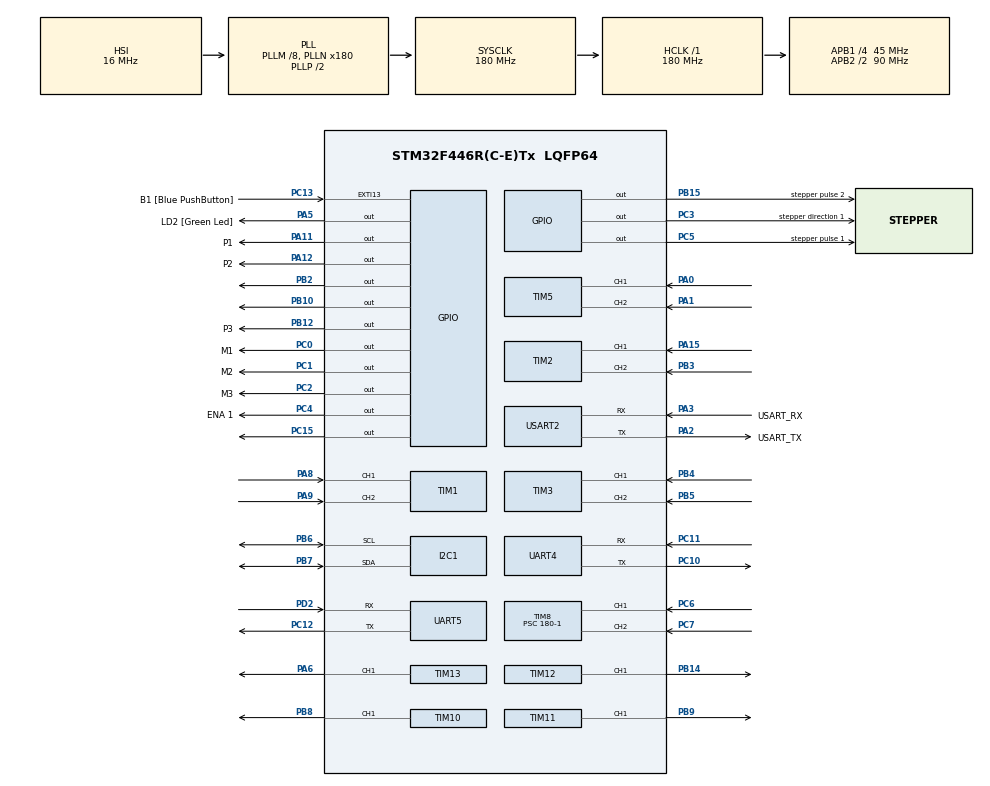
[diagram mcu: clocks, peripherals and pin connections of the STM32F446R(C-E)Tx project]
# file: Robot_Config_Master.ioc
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Dma.Request0=UART4_RX
Dma.Request1=UART5_TX
Dma.UART4_RX.0.Direction=DMA_PERIPH_TO_MEMORY
Dma.UART4_RX.0.FIFOMode=DMA_FIFOMODE_DISABLE
Dma.UART4_RX.0.Instance=DMA1_Stream2
Dma.UART4_RX.0.MemDataAlignment=DMA_MDATAALIGN_BYTE
Dma.UART4_RX.0.MemInc=DMA_MINC_ENABLE
Dma.UART4_RX.0.Mode=DMA_CIRCULAR
Dma.UART4_RX.0.PeriphDataAlignment=DMA_PDATAALIGN_BYTE
Dma.UART4_RX.0.PeriphInc=DMA_PINC_DISABLE
Dma.UART4_RX.0.Priority=DMA_PRIORITY_LOW
Dma.UART5_TX.1.Direction=DMA_MEMORY_TO_PERIPH
Dma.UART5_TX.1.FIFOMode=DMA_FIFOMODE_DISABLE
Dma.UART5_TX.1.Instance=DMA1_Stream7
Dma.UART5_TX.1.MemDataAlignment=DMA_MDATAALIGN_BYTE
Dma.UART5_TX.1.MemInc=DMA_MINC_ENABLE
Dma.UART5_TX.1.Mode=DMA_CIRCULAR
Dma.UART5_TX.1.PeriphDataAlignment=DMA_PDATAALIGN_BYTE
Dma.UART5_TX.1.PeriphInc=DMA_PINC_DISABLE
Dma.UART5_TX.1.Priority=DMA_PRIORITY_LOW
I2C1.I2C_Mode=I2C_Fast
Mcu.Family=STM32F4
Mcu.Name=STM32F446R(C-E)Tx
Mcu.Package=LQFP64
NVIC.DMA1_Stream2_IRQn=true\:0\:0\:false\:false\:true\:false\:true\:true
NVIC.DMA1_Stream7_IRQn=true\:0\:0\:false\:false\:true\:false\:true\:true
NVIC.PriorityGroup=NVIC_PRIORITYGROUP_0
NVIC.UART4_IRQn=true\:0\:0\:false\:false\:true\:true\:true\:true
NVIC.UART5_IRQn=true\:0\:0\:false\:false\:true\:true\:true\:true
PA0-WKUP.GPIO_PuPd=GPIO_PULLUP
PA0-WKUP.Signal=S_TIM5_CH1
PA1.GPIO_PuPd=GPIO_PULLUP
PA1.Signal=S_TIM5_CH2
PA11.GPIO_Label=P1
PA11.Signal=GPIO_Output
PA12.GPIO_Label=P2
PA12.Signal=GPIO_Output
PA13.GPIO_Label=TMS
PA13.Mode=Serial_Wire
PA13.Signal=SYS_JTMS-SWDIO
PA14.GPIO_Label=TCK
PA14.Mode=Serial_Wire
PA14.Signal=SYS_JTCK-SWCLK
PA15.GPIO_PuPd=GPIO_PULLUP
PA15.Signal=S_TIM2_CH1_ETR
PA2.GPIO_Label=USART_TX
PA2.Mode=Asynchronous
PA2.Signal=USART2_TX
PA3.GPIO_Label=USART_RX
PA3.Mode=Asynchronous
PA3.Signal=USART2_RX
PA5.GPIO_Label=LD2 [Green Led]
PA5.Signal=GPIO_Output
PA6.Signal=S_TIM13_CH1
PA8.GPIO_PuPd=GPIO_PULLUP
PA8.Signal=S_TIM1_CH1
PA9.GPIO_PuPd=GPIO_PULLUP
PA9.Signal=S_TIM1_CH2
PB10.Signal=GPIO_Output
PB12.GPIO_Label=P3
PB12.Signal=GPIO_Output
PB14.Signal=S_TIM12_CH1
PB15.GPIO_Label=stepper pulse 2
PB15.Signal=GPIO_Output
PB2.Signal=GPIO_Output
PB3.GPIO_PuPd=GPIO_PULLUP
PB3.Signal=S_TIM2_CH2
PB4.GPIO_PuPd=GPIO_PULLUP
PB4.Signal=S_TIM3_CH1
PB5.GPIO_PuPd=GPIO_PULLUP
PB5.Signal=S_TIM3_CH2
PB6.Mode=I2C
PB6.Signal=I2C1_SCL
PB7.Mode=I2C
PB7.Signal=I2C1_SDA
PB8.Signal=S_TIM10_CH1
PB9.Signal=S_TIM11_CH1
PC0.GPIO_Label=M1
PC0.Signal=GPIO_Output
PC1.GPIO_Label=M2
PC1.Signal=GPIO_Output
PC10.Mode=Asynchronous
PC10.Signal=UART4_TX
PC11.Mode=Asynchronous
PC11.Signal=UART4_RX
PC12.Mode=Asynchronous
PC12.Signal=UART5_TX
PC13.GPIO_Label=B1 [Blue PushButton]
PC13.GPIO_ModeDefaultEXTI=GPIO_MODE_IT_FALLING
PC13.Signal=GPXTI13
PC14-OSC32_IN.Signal=RCC_OSC32_IN
PC15-OSC32_OUT.Signal=GPIO_Output
PC2.GPIO_Label=M3
PC2.Signal=GPIO_Output
PC3.GPIO_Label=stepper direction 1
PC3.Signal=GPIO_Output
PC4.GPIO_Label=ENA 1
PC4.Signal=GPIO_Output
PC5.GPIO_Label=stepper pulse 1
PC5.Signal=GPIO_Output
PC6.GPIO_PuPd=GPIO_PULLUP
PC6.Signal=S_TIM8_CH1
PC7.GPIO_PuPd=GPIO_PULLUP
PC7.Signal=S_TIM8_CH2
PD2.Mode=Asynchronous
PD2.Signal=UART5_RX
PH0-OSC_IN.Mode=HSE-External-Oscillator
PH0-OSC_IN.Signal=RCC_OSC_IN
PH1-OSC_OUT.Mode=HSE-External-Oscillator
PH1-OSC_OUT.Signal=RCC_OSC_OUT
ProjectManager.HeapSize=0x200
ProjectManager.StackSize=0x400
ProjectManager.TargetToolchain=STM32CubeIDE
RCC.48MHZClocksFreq_Value=84000000
RCC.AHBFreq_Value=180000000
RCC.APB1CLKDivider=RCC_HCLK_DIV4
RCC.APB1Freq_Value=45000000
RCC.APB1TimFreq_Value=90000000
RCC.APB2CLKDivider=RCC_HCLK_DIV2
RCC.APB2Freq_Value=90000000
RCC.APB2TimFreq_Value=180000000
RCC.CortexFreq_Value=180000000
RCC.FLatency-AdvancedSettings=FLASH_LATENCY_5
RCC.HCLKFreq_Value=180000000
RCC.HSE_VALUE=8000000
RCC.HSI_VALUE=16000000
RCC.PLLM=8
RCC.PLLN=180
RCC.SYSCLKFreq_VALUE=180000000
RCC.SYSCLKSource=RCC_SYSCLKSOURCE_PLLCLK
RCC.USBFreq_Value=180000000
RCC.VCOOutputFreq_Value=360000000
SH.S_TIM10_CH1.0=TIM10_CH1,PWM Generation1 CH1
SH.S_TIM11_CH1.0=TIM11_CH1,PWM Generation1 CH1
SH.S_TIM12_CH1.0=TIM12_CH1,PWM Generation1 CH1
SH.S_TIM13_CH1.0=TIM13_CH1,PWM Generation1 CH1
SH.S_TIM1_CH1.0=TIM1_CH1,Encoder_Interface
SH.S_TIM1_CH2.0=TIM1_CH2,Encoder_Interface
SH.S_TIM2_CH1_ETR.0=TIM2_CH1,Encoder_Interface
SH.S_TIM2_CH2.0=TIM2_CH2,Encoder_Interface
SH.S_TIM3_CH1.0=TIM3_CH1,Encoder_Interface
SH.S_TIM3_CH2.0=TIM3_CH2,Encoder_Interface
SH.S_TIM5_CH1.0=TIM5_CH1,Encoder_Interface
SH.S_TIM5_CH2.0=TIM5_CH2,Encoder_Interface
SH.S_TIM8_CH1.0=TIM8_CH1,Encoder_Interface
SH.S_TIM8_CH2.0=TIM8_CH2,Encoder_Interface
TIM10.Channel=TIM_CHANNEL_1
TIM10.Period=999
TIM10.Prescaler=179
TIM11.Channel=TIM_CHANNEL_1
TIM11.Period=999
TIM11.Prescaler=179
TIM12.Channel-PWM\ Generation1\ CH1=TIM_CHANNEL_1
TIM12.Period=999
TIM12.Prescaler=179
TIM13.Channel=TIM_CHANNEL_1
TIM13.Period=999
TIM13.Prescaler=179
TIM8.Period=1000-1
TIM8.Prescaler=180-1
UART4.VirtualMode=Asynchronous
UART5.VirtualMode=Asynchronous
USART2.VirtualMode=VM_ASYNC
VP_TIM10_VS_ClockSourceINT.Mode=Enable_Timer
VP_TIM11_VS_ClockSourceINT.Mode=Enable_Timer
VP_TIM12_VS_ClockSourceINT.Mode=Internal
VP_TIM13_VS_ClockSourceINT.Mode=Enable_Timer
board=NUCLEO-F446RE

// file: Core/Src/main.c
/* USER CODE BEGIN Header */
/**
 ******************************************************************************
 * @file           : main.c
 * @brief          : Main program body
 ******************************************************************************
 * @attention
 *
 * Copyright (c) 2025 STMicroelectronics.
 * All rights reserved.
 *
 * This software is licensed under terms that can be found in the LICENSE file
 * in the root directory of this software component.
 * If no LICENSE file comes with this software, it is provided AS-IS.
 *
 ******************************************************************************
 */
/* USER CODE END Header */
#include "main.h"

/* USER CODE BEGIN Includes */
#include "bno055_stm32.h"
#include "BNO055.h"

#include "stdio.h"
#include<stdio.h>
#include<inttypes.h>
#include<Math.h>
#include <stdbool.h>
#include <stdlib.h>
#define WHEEL_RADIUS        63.5f    // meters
#define ENCODER_COUNTS_PER_REV  349.9844447f // Encoder counts per wheel revolution
#define L                   0.314f     // Distance from robot center to wheels (meters)

#define pi 3.1415926535
/* USER CODE END Includes */

I2C_HandleTypeDef hi2c1;

TIM_HandleTypeDef htim1;
TIM_HandleTypeDef htim2;
TIM_HandleTypeDef htim3;
TIM_HandleTypeDef htim5;
TIM_HandleTypeDef htim8;
TIM_HandleTypeDef htim10;
TIM_HandleTypeDef htim11;
TIM_HandleTypeDef htim12;
TIM_HandleTypeDef htim13;

UART_HandleTypeDef huart4;
UART_HandleTypeDef huart5;
UART_HandleTypeDef huart2;
DMA_HandleTypeDef hdma_uart4_rx;
DMA_HandleTypeDef hdma_uart5_tx;

/* USER CODE BEGIN PV */
// comm buffer
char data[12];

// stepper
static uint32_t last_step_time1 = 0;
static int step_state1 = 0;
static int direction1 = 1;
int step_delay = 5;
int step_delay1 = 1;
static int stepper_running1 = 0;  // Toggle flag
static int ebike_running = 0;  // Toggle flag
static int prev_cir = 0;
static int prev_tri = 0;
static int prev_cro = 0;
static int prev_ll1 = 0;
static int prev_rr1 = 0;

// Encoder counters
int16_t signed_counter1 = 0;
int32_t signed_counter2 = 0;
int16_t signed_counter3 = 0;

//BNO055_Data_t imu_data, imuData;

float yaw = 0, q0 = 0, q1 = 0, q2 = 0, q3 = 0;

// Global variables
float x_global = 0.0f;      // Global X position (meters)
float y_global = 0.0f;      // Global Y position (meters)
float theta_prev = 0.0f;    // Previous IMU yaw (radians)
int32_t encoder_prev[3] = { 0 }; // Previous encoder counts for wheels 1, 2, 3
/* USER CODE END PV */

void SystemClock_Config(void);
static void MX_GPIO_Init(void);
static void MX_DMA_Init(void);
static void MX_USART2_UART_Init(void);
static void MX_UART4_Init(void);
static void MX_TIM1_Init(void);
static void MX_TIM8_Init(void);
static void MX_I2C1_Init(void);
static void MX_TIM5_Init(void);
static void MX_TIM10_Init(void);
static void MX_TIM11_Init(void);
static void MX_TIM13_Init(void);
static void MX_TIM2_Init(void);
static void MX_TIM3_Init(void);
static void MX_TIM12_Init(void);
static void MX_UART5_Init(void);

/* USER CODE BEGIN 0 */
//float sinval = sin(radians(60));
uint8_t rxbuff[16];
int slow = 125;
int fast = 850;
int Buff1 = 50;
int Buff2 = -50;
int BuffP = 50;
int BuffN = -50;
int target_wf, target_wrr, target_wrl, w;
int32_t lx, ly, rx, ry, cro, squ, tri, cir, up, down, left, right, ll1, rr1,
		ll2, rr2, rL, rR;
int deadzone = 50;
int l0 = 310;
//float cos30 = (sqrt(3)/2);
float cos30 = 0.5;

float dist1 = 0.0f;
float dist2 = 0.0f;
float dist3 = 0.0f;
float dist4 = 0.0f;

float last_encoder1 = 0.0f;
float last_encoder2 = 0.0f;
float last_encoder3 = 0.0f;

typedef enum {
	STOP, FORWARD, BACKWARD, RIGHT, LEFT, CLOCKWISE, ANTICLOCKWISE
} MovementState;

// Global position and orientation
volatile float x = 0.0f; // mm
volatile float y = 0.0f; // mm
volatile float theta = 0.0f; // radians

// Encoder state
volatile int32_t prev_encoder5 = 0;
volatile int32_t prev_encoder10 = 0;
volatile int32_t prev_encoder11 = 0;

void HAL_UART_RxCpltCallback(UART_HandleTypeDef *huart) {
	HAL_UART_Receive_DMA(&huart4, rxbuff, 16);
}
long map(long x, long in_min, long in_max, long out_min, long out_max) {

	return (x - in_min) * (out_max - out_min) / (in_max - in_min) + out_min;

}

void update_odometry(int16_t encoder1, int32_t encoder2, int16_t encoder3) {
	// Calculate the change in encoder values
	int16_t delta1 = encoder1 - last_encoder1;
	int32_t delta2 = encoder2 - last_encoder2;
	int16_t delta3 = encoder3 - last_encoder3;

	// Calculate distance per encoder count
	float wheel_circumference = 2 * M_PI * WHEEL_RADIUS;
	float distance_per_count = (1.0 / ENCODER_COUNTS_PER_REV)
			* (wheel_circumference / 1000);

	// Compute average delta for forward/backward encoders (without abs)
	float avgDelta12 = (delta1 + delta2) / 2.0;

	// Check movement direction based on joystick
	if (ly >= Buff1 && (lx <= BuffP && lx >= BuffN)) {
		// Forward motion - use the actual delta (with sign) to track position
		x += distance_per_count * avgDelta12;
	} else if (ly <= Buff2 && (lx <= BuffP && lx >= BuffN)) {
		// Backward motion - use the actual delta (with sign) to track position
		x += distance_per_count * avgDelta12; // Will be negative when going backward
	}

	if (lx >= Buff1 && (ly <= BuffP && ly >= BuffN)) {
		dist3 = distance_per_count * abs(delta3);  // Using delta3 for y-axis
		y += dist3;
	} else if (lx <= Buff2 && (ly <= BuffP && ly >= BuffN)) {
		dist4 = distance_per_count * abs(delta3);
		y -= dist4;
	}

	// Update last encoder values for the next iteration
	last_encoder1 = encoder1;
	last_encoder2 = encoder2;
	last_encoder3 = encoder3;
}

void resetEncoders() {
	__HAL_TIM_SET_COUNTER(&htim1, 0);
	__HAL_TIM_SET_COUNTER(&htim2, 0);
	__HAL_TIM_SET_COUNTER(&htim3, 0);
}

void stopEncoders() {
	HAL_TIM_Encoder_Stop(&htim1, TIM_CHANNEL_ALL);
	HAL_TIM_Encoder_Stop(&htim2, TIM_CHANNEL_ALL);
	HAL_TIM_Encoder_Stop(&htim3, TIM_CHANNEL_ALL);
}

void startEncoders() {
	HAL_TIM_Encoder_Start(&htim1, TIM_CHANNEL_ALL);
	HAL_TIM_Encoder_Start(&htim2, TIM_CHANNEL_ALL);
	HAL_TIM_Encoder_Start(&htim3, TIM_CHANNEL_ALL);
}
/* USER CODE END 0 */

int main(void) {

	/* MCU Configuration--------------------------------------------------------*/

	/* Reset of all peripherals, Initializes the Flash interface and the Systick. */
	HAL_Init();

	/* Configure the system clock */
	SystemClock_Config();

	/* Initialize all configured peripherals */
	MX_GPIO_Init();
	MX_DMA_Init();
	MX_USART2_UART_Init();
	MX_UART4_Init();
	MX_TIM1_Init();
	MX_TIM8_Init();
	MX_I2C1_Init();
	MX_TIM5_Init();
	MX_TIM10_Init();
	MX_TIM11_Init();
	MX_TIM13_Init();
	MX_TIM2_Init();
	MX_TIM3_Init();
	MX_TIM12_Init();
	MX_UART5_Init();
	/* USER CODE BEGIN 2 */
	HAL_UART_Receive_DMA(&huart4, rxbuff, 16);
	HAL_TIM_Encoder_Start(&htim1, TIM_CHANNEL_ALL);
	HAL_TIM_Encoder_Start(&htim2, TIM_CHANNEL_ALL);
	HAL_TIM_Encoder_Start(&htim3, TIM_CHANNEL_ALL);
	bno055_assignI2C(&hi2c1);
	bno055_setup();
	bno055_setOperationModeNDOF();
	/* USER CODE END 2 */

	/* Infinite loop */
	while (1) {

		/* USER CODE BEGIN 3 */
		/* ps5 controller */
		lx = (rxbuff[0] & 0x80) ?
				(int32_t) rxbuff[0] - 256 : (int32_t) rxbuff[0];
		ly = (rxbuff[1] & 0x80) ?
				(int32_t) rxbuff[1] - 256 : (int32_t) rxbuff[1];
		rx = (rxbuff[2] & 0x80) ?
				(int32_t) rxbuff[2] - 256 : (int32_t) rxbuff[2];
		ry = (rxbuff[3] & 0x80) ?
				(int32_t) rxbuff[3] - 256 : (int32_t) rxbuff[3];
		cro = (rxbuff[4] & 0x80) ?
				(int32_t) rxbuff[4] - 256 : (int32_t) rxbuff[4];
		squ = (rxbuff[5] & 0x80) ?
				(int32_t) rxbuff[5] - 256 : (int32_t) rxbuff[5];
		tri = (rxbuff[6] & 0x80) ?
				(int32_t) rxbuff[6] - 256 : (int32_t) rxbuff[6];
		cir = (rxbuff[7] & 0x80) ?
				(int32_t) rxbuff[7] - 256 : (int32_t) rxbuff[7];
		up = (rxbuff[8] & 0x80) ?
				(int32_t) rxbuff[8] - 256 : (int32_t) rxbuff[8];
		down = (rxbuff[9] & 0x80) ?
				(int32_t) rxbuff[9] - 256 : (int32_t) rxbuff[9];
		left = (rxbuff[10] & 0x80) ?
				(int32_t) rxbuff[10] - 256 : (int32_t) rxbuff[10];
		right = (rxbuff[11] & 0x80) ?
				(int32_t) rxbuff[11] - 256 : (int32_t) rxbuff[11];
		ll1 = (rxbuff[12] & 0x80) ?
				(int32_t) rxbuff[12] - 256 : (int32_t) rxbuff[12];
		ll2 = (rxbuff[13] & 0x80) ?
				(int32_t) rxbuff[13] - 256 : (int32_t) rxbuff[13];
		rr1 = (rxbuff[14] & 0x80) ?
				(int32_t) rxbuff[14] - 256 : (int32_t) rxbuff[14];
		rr2 = (rxbuff[15] & 0x80) ?
				(int32_t) rxbuff[15] - 256 : (int32_t) rxbuff[15];

		//		printf("Received Integers: %ld %ld %ld %ld %ld %ld %ld %ld %ld %ld\r\n",
		//				lx, ly, rx, ry, cro, squ, tri, cir, ll1, rr1);
		//		printf("Received Integers: %ld %ld %ld %ld %ld %ld %ld %ld\r\n", lx, ly,
		//				rx, ry, cro, squ, tri, cir);

		data[0] = rxbuff[4];
		data[1] = rxbuff[5];
		data[2] = rxbuff[6];
		data[3] = rxbuff[7];
		data[4] = rxbuff[8];
		data[5] = rxbuff[9];
		data[6] = rxbuff[10];
		data[7] = rxbuff[11];
		data[8] = rxbuff[12];
		data[9] = rxbuff[13];
		data[10] = rxbuff[14];
		data[11] = rxbuff[15];

		HAL_UART_Transmit(&huart5, (uint8_t*)data, 12, 1000);

		/* 3 encoders */
		uint16_t raw_counter1 = __HAL_TIM_GET_COUNTER(&htim1);
		uint32_t raw_counter2 = __HAL_TIM_GET_COUNTER(&htim2);
		uint16_t raw_counter3 = __HAL_TIM_GET_COUNTER(&htim3);

		// Convert to signed values
		signed_counter1 =
				(raw_counter1 < 32768) ?
						(int16_t) raw_counter1 :
						(int16_t) (raw_counter1 - 65536);
		signed_counter2 =
				(raw_counter2 < 2147483648) ?
						(int32_t) raw_counter2 :
						(int32_t) (raw_counter2 - 4294967296);
		signed_counter3 =
				(raw_counter3 < 32768) ?
						(int16_t) raw_counter3 :
						(int16_t) (raw_counter3 - 65536);

		/* IMU */
		bno055_vector_t v = bno055_getVectorEuler();
		//		printf("Heading: %.2f Roll: %.2f Pitch: %.2f\r\n", v.x, v.y, v.z);
		v = bno055_getVectorQuaternion();
		//		printf("W: %.2f X: %.2f Y: %.2f Z: %.2f\r\n", v.w, v.x, v.y, v.z);
		yaw = -(atan2(2.0 * (v.w * v.z + v.x * v.y),
				1.0 - 2.0 * (v.y * v.y + v.z * v.z))) * (180.0 / pi);
		//				printf("Yaw: %.2f\r\n", yaw);
		printf("Encoder position: %d %d %d X: %.2f Y: %.2f\r\n",
				signed_counter1, signed_counter2, signed_counter3, x, y);

		/* 3 wheel */
		uint16_t dutycycle;

		dutycycle = 0;
		MovementState current_state = STOP;
		/* chassis */
		//motors stop
		if (ly >= Buff2 && ly <= Buff1 && lx >= Buff2 && lx <= Buff1
				&& rx >= Buff2 && rx <= Buff1) {

			dutycycle = 0;

			TIM12->CCR1 = dutycycle;
			TIM10->CCR1 = dutycycle;
			TIM11->CCR1 = dutycycle;
			HAL_TIM_PWM_Start(&htim12, TIM_CHANNEL_1);
			HAL_TIM_PWM_Start(&htim10, TIM_CHANNEL_1);
			HAL_TIM_PWM_Start(&htim11, TIM_CHANNEL_1);

		}

		//	  	//forward

		else if (ly >= Buff1 && (lx <= BuffP && lx >= BuffN))

		{

			dutycycle = map(ly, Buff1, 127, 0, fast);

			TIM10->CCR1 = dutycycle;
			TIM11->CCR1 = dutycycle;
			HAL_TIM_PWM_Start(&htim10, TIM_CHANNEL_1);
			HAL_TIM_PWM_Start(&htim11, TIM_CHANNEL_1);

			//			HAL_GPIO_WritePin(GPIOC, GPIO_PIN_0, GPIO_PIN_RESET);

			HAL_GPIO_WritePin(GPIOC, GPIO_PIN_1, GPIO_PIN_SET);

			HAL_GPIO_WritePin(GPIOC, GPIO_PIN_2, GPIO_PIN_RESET);
			current_state = FORWARD;
			//			HAL_GPIO_WritePin(GPIOC, GPIO_PIN_3, GPIO_PIN_RESET);

			//	   	HAL_Delay(1000);

		}

		// backward

		else if (ly <= Buff2 && (lx <= BuffP && lx >= BuffN))

		{

			dutycycle = map(ly, -128, Buff2, fast, 0);

			TIM10->CCR1 = dutycycle;
			TIM11->CCR1 = dutycycle;
			HAL_TIM_PWM_Start(&htim10, TIM_CHANNEL_1);
			HAL_TIM_PWM_Start(&htim11, TIM_CHANNEL_1);

			//			HAL_GPIO_WritePin(GPIOC, GPIO_PIN_0, GPIO_PIN_RESET);

			HAL_GPIO_WritePin(GPIOC, GPIO_PIN_1, GPIO_PIN_RESET);

			HAL_GPIO_WritePin(GPIOC, GPIO_PIN_2, GPIO_PIN_SET);

			//			HAL_GPIO_WritePin(GPIOC, GPIO_PIN_3, GPIO_PIN_SET);
			current_state = BACKWARD;
			//	    HAL_Delay(1000);

		}

		//	right

		else if (lx >= Buff1 && (ly <= BuffP && ly >= BuffN))

		{

			dutycycle = map(lx, Buff1, 127, 0, fast);

			TIM12->CCR1 = dutycycle;
			TIM10->CCR1 = cos30 * dutycycle;
			TIM11->CCR1 = cos30 * dutycycle;
			HAL_TIM_PWM_Start(&htim12, TIM_CHANNEL_1);
			HAL_TIM_PWM_Start(&htim10, TIM_CHANNEL_1);
			HAL_TIM_PWM_Start(&htim11, TIM_CHANNEL_1);

			HAL_GPIO_WritePin(GPIOC, GPIO_PIN_0, GPIO_PIN_RESET);

			HAL_GPIO_WritePin(GPIOC, GPIO_PIN_1, GPIO_PIN_RESET);

			HAL_GPIO_WritePin(GPIOC, GPIO_PIN_2, GPIO_PIN_RESET);

			//			HAL_GPIO_WritePin(GPIOC, GPIO_PIN_3, GPIO_PIN_SET);
			current_state = RIGHT;
			//	    HAL_Delay(1000);

		}

		// left

		else if (lx <= Buff2 && (ly <= BuffP && ly >= BuffN))

		{

			dutycycle = map(lx, -128, Buff2, fast, 0);

			TIM12->CCR1 = dutycycle;
			TIM10->CCR1 = cos30 * dutycycle;
			TIM11->CCR1 = cos30 * dutycycle;
			HAL_TIM_PWM_Start(&htim12, TIM_CHANNEL_1);
			HAL_TIM_PWM_Start(&htim10, TIM_CHANNEL_1);
			HAL_TIM_PWM_Start(&htim11, TIM_CHANNEL_1);

			HAL_GPIO_WritePin(GPIOC, GPIO_PIN_0, GPIO_PIN_SET);

			HAL_GPIO_WritePin(GPIOC, GPIO_PIN_1, GPIO_PIN_SET);

			HAL_GPIO_WritePin(GPIOC, GPIO_PIN_2, GPIO_PIN_SET);
			current_state = LEFT;
			//			HAL_GPIO_WritePin(GPIOC, GPIO_PIN_3, GPIO_PIN_RESET);

		}

		//clockwise

		else if (rx >= Buff1 && (ry <= BuffP && ry >= BuffN)) {

			dutycycle = map(rx, Buff1, 127, 0, 100);

			TIM12->CCR1 = dutycycle;
			TIM10->CCR1 = dutycycle;
			TIM11->CCR1 = dutycycle;
			HAL_TIM_PWM_Start(&htim12, TIM_CHANNEL_1);
			HAL_TIM_PWM_Start(&htim10, TIM_CHANNEL_1);
			HAL_TIM_PWM_Start(&htim11, TIM_CHANNEL_1);

			HAL_GPIO_WritePin(GPIOC, GPIO_PIN_0, GPIO_PIN_SET);

			HAL_GPIO_WritePin(GPIOC, GPIO_PIN_1, GPIO_PIN_RESET);

			HAL_GPIO_WritePin(GPIOC, GPIO_PIN_2, GPIO_PIN_RESET);
			current_state = CLOCKWISE;
			//			HAL_GPIO_WritePin(GPIOC, GPIO_PIN_3, GPIO_PIN_SET);

		}

		// anticlockwise

		else if (rx <= Buff2 && (ry <= BuffP && ry >= BuffN)) {

			dutycycle = map(rx, -128, Buff2, 100, 0);

			TIM12->CCR1 = dutycycle;
			TIM10->CCR1 = dutycycle;
			TIM11->CCR1 = dutycycle;
			HAL_TIM_PWM_Start(&htim12, TIM_CHANNEL_1);
			HAL_TIM_PWM_Start(&htim10, TIM_CHANNEL_1);
			HAL_TIM_PWM_Start(&htim11, TIM_CHANNEL_1);

			HAL_GPIO_WritePin(GPIOC, GPIO_PIN_0, GPIO_PIN_RESET);

			HAL_GPIO_WritePin(GPIOC, GPIO_PIN_1, GPIO_PIN_SET);

			HAL_GPIO_WritePin(GPIOC, GPIO_PIN_2, GPIO_PIN_SET);
			current_state = ANTICLOCKWISE;

			//			HAL_GPIO_WritePin(GPIOC, GPIO_PIN_3, GPIO_PIN_RESET);

		}

		if (current_state == CLOCKWISE || current_state == ANTICLOCKWISE) {
			stopEncoders();
		} else {
			startEncoders();
		}

		update_odometry(signed_counter1, signed_counter2, signed_counter3);
	}
	/* USER CODE END 3 */
}

void SystemClock_Config(void) {
	RCC_OscInitTypeDef RCC_OscInitStruct = { 0 };
	RCC_ClkInitTypeDef RCC_ClkInitStruct = { 0 };

	/** Configure the main internal regulator output voltage
	 */
	__HAL_RCC_PWR_CLK_ENABLE();
	__HAL_PWR_VOLTAGESCALING_CONFIG(PWR_REGULATOR_VOLTAGE_SCALE1);

	/** Initializes the RCC Oscillators according to the specified parameters
	 * in the RCC_OscInitTypeDef structure.
	 */
	RCC_OscInitStruct.OscillatorType = RCC_OSCILLATORTYPE_HSI;
	RCC_OscInitStruct.HSIState = RCC_HSI_ON;
	RCC_OscInitStruct.HSICalibrationValue = RCC_HSICALIBRATION_DEFAULT;
	RCC_OscInitStruct.PLL.PLLState = RCC_PLL_ON;
	RCC_OscInitStruct.PLL.PLLSource = RCC_PLLSOURCE_HSI;
	RCC_OscInitStruct.PLL.PLLM = 8;
	RCC_OscInitStruct.PLL.PLLN = 180;
	RCC_OscInitStruct.PLL.PLLP = RCC_PLLP_DIV2;
	RCC_OscInitStruct.PLL.PLLQ = 2;
	RCC_OscInitStruct.PLL.PLLR = 2;
	if (HAL_RCC_OscConfig(&RCC_OscInitStruct) != HAL_OK) {
		Error_Handler();
	}

	/** Activate the Over-Drive mode
	 */
	if (HAL_PWREx_EnableOverDrive() != HAL_OK) {
		Error_Handler();
	}

	/** Initializes the CPU, AHB and APB buses clocks
	 */
	RCC_ClkInitStruct.ClockType = RCC_CLOCKTYPE_HCLK | RCC_CLOCKTYPE_SYSCLK
			| RCC_CLOCKTYPE_PCLK1 | RCC_CLOCKTYPE_PCLK2;
	RCC_ClkInitStruct.SYSCLKSource = RCC_SYSCLKSOURCE_PLLCLK;
	RCC_ClkInitStruct.AHBCLKDivider = RCC_SYSCLK_DIV1;
	RCC_ClkInitStruct.APB1CLKDivider = RCC_HCLK_DIV4;
	RCC_ClkInitStruct.APB2CLKDivider = RCC_HCLK_DIV2;

	if (HAL_RCC_ClockConfig(&RCC_ClkInitStruct, FLASH_LATENCY_5) != HAL_OK) {
		Error_Handler();
	}
}

static void MX_I2C1_Init(void) {

	hi2c1.Instance = I2C1;
	hi2c1.Init.ClockSpeed = 400000;
	hi2c1.Init.DutyCycle = I2C_DUTYCYCLE_2;
	hi2c1.Init.OwnAddress1 = 0;
	hi2c1.Init.AddressingMode = I2C_ADDRESSINGMODE_7BIT;
	hi2c1.Init.DualAddressMode = I2C_DUALADDRESS_DISABLE;
	hi2c1.Init.OwnAddress2 = 0;
	hi2c1.Init.GeneralCallMode = I2C_GENERALCALL_DISABLE;
	hi2c1.Init.NoStretchMode = I2C_NOSTRETCH_DISABLE;
	if (HAL_I2C_Init(&hi2c1) != HAL_OK) {
		Error_Handler();
	}

}

static void MX_TIM1_Init(void) {

	TIM_Encoder_InitTypeDef sConfig = { 0 };
	TIM_MasterConfigTypeDef sMasterConfig = { 0 };

	htim1.Instance = TIM1;
	htim1.Init.Prescaler = 0;
	htim1.Init.CounterMode = TIM_COUNTERMODE_UP;
	htim1.Init.Period = 65535;
	htim1.Init.ClockDivision = TIM_CLOCKDIVISION_DIV1;
	htim1.Init.RepetitionCounter = 0;
	htim1.Init.AutoReloadPreload = TIM_AUTORELOAD_PRELOAD_DISABLE;
	sConfig.EncoderMode = TIM_ENCODERMODE_TI1;
	sConfig.IC1Polarity = TIM_ICPOLARITY_RISING;
	sConfig.IC1Selection = TIM_ICSELECTION_DIRECTTI;
	sConfig.IC1Prescaler = TIM_ICPSC_DIV1;
	sConfig.IC1Filter = 0;
	sConfig.IC2Polarity = TIM_ICPOLARITY_RISING;
	sConfig.IC2Selection = TIM_ICSELECTION_DIRECTTI;
	sConfig.IC2Prescaler = TIM_ICPSC_DIV1;
	sConfig.IC2Filter = 0;
	if (HAL_TIM_Encoder_Init(&htim1, &sConfig) != HAL_OK) {
		Error_Handler();
	}
	sMasterConfig.MasterOutputTrigger = TIM_TRGO_RESET;
	sMasterConfig.MasterSlaveMode = TIM_MASTERSLAVEMODE_DISABLE;
	if (HAL_TIMEx_MasterConfigSynchronization(&htim1, &sMasterConfig)
			!= HAL_OK) {
		Error_Handler();
	}

}

static void MX_TIM2_Init(void) {

	TIM_Encoder_InitTypeDef sConfig = { 0 };
	TIM_MasterConfigTypeDef sMasterConfig = { 0 };

	htim2.Instance = TIM2;
	htim2.Init.Prescaler = 0;
	htim2.Init.CounterMode = TIM_COUNTERMODE_UP;
	htim2.Init.Period = 4294967295;
	htim2.Init.ClockDivision = TIM_CLOCKDIVISION_DIV1;
	htim2.Init.AutoReloadPreload = TIM_AUTORELOAD_PRELOAD_DISABLE;
	sConfig.EncoderMode = TIM_ENCODERMODE_TI1;
	sConfig.IC1Polarity = TIM_ICPOLARITY_RISING;
	sConfig.IC1Selection = TIM_ICSELECTION_DIRECTTI;
	sConfig.IC1Prescaler = TIM_ICPSC_DIV1;
	sConfig.IC1Filter = 0;
	sConfig.IC2Polarity = TIM_ICPOLARITY_RISING;
	sConfig.IC2Selection = TIM_ICSELECTION_DIRECTTI;
	sConfig.IC2Prescaler = TIM_ICPSC_DIV1;
	sConfig.IC2Filter = 0;
	if (HAL_TIM_Encoder_Init(&htim2, &sConfig) != HAL_OK) {
		Error_Handler();
	}
	sMasterConfig.MasterOutputTrigger = TIM_TRGO_RESET;
	sMasterConfig.MasterSlaveMode = TIM_MASTERSLAVEMODE_DISABLE;
	if (HAL_TIMEx_MasterConfigSynchronization(&htim2, &sMasterConfig)
			!= HAL_OK) {
		Error_Handler();
	}

}

static void MX_TIM3_Init(void) {

	TIM_Encoder_InitTypeDef sConfig = { 0 };
	TIM_MasterConfigTypeDef sMasterConfig = { 0 };

	htim3.Instance = TIM3;
	htim3.Init.Prescaler = 0;
	htim3.Init.CounterMode = TIM_COUNTERMODE_UP;
	htim3.Init.Period = 65535;
	htim3.Init.ClockDivision = TIM_CLOCKDIVISION_DIV1;
	htim3.Init.AutoReloadPreload = TIM_AUTORELOAD_PRELOAD_DISABLE;
	sConfig.EncoderMode = TIM_ENCODERMODE_TI1;
	sConfig.IC1Polarity = TIM_ICPOLARITY_RISING;
	sConfig.IC1Selection = TIM_ICSELECTION_DIRECTTI;
	sConfig.IC1Prescaler = TIM_ICPSC_DIV1;
	sConfig.IC1Filter = 0;
	sConfig.IC2Polarity = TIM_ICPOLARITY_RISING;
	sConfig.IC2Selection = TIM_ICSELECTION_DIRECTTI;
	sConfig.IC2Prescaler = TIM_ICPSC_DIV1;
	sConfig.IC2Filter = 0;
	if (HAL_TIM_Encoder_Init(&htim3, &sConfig) != HAL_OK) {
		Error_Handler();
	}
	sMasterConfig.MasterOutputTrigger = TIM_TRGO_RESET;
	sMasterConfig.MasterSlaveMode = TIM_MASTERSLAVEMODE_DISABLE;
	if (HAL_TIMEx_MasterConfigSynchronization(&htim3, &sMasterConfig)
			!= HAL_OK) {
		Error_Handler();
	}

}

static void MX_TIM5_Init(void) {

	TIM_Encoder_InitTypeDef sConfig = { 0 };
	TIM_MasterConfigTypeDef sMasterConfig = { 0 };

	htim5.Instance = TIM5;
	htim5.Init.Prescaler = 0;
	htim5.Init.CounterMode = TIM_COUNTERMODE_UP;
	htim5.Init.Period = 4294967295;
	htim5.Init.ClockDivision = TIM_CLOCKDIVISION_DIV1;
	htim5.Init.AutoReloadPreload = TIM_AUTORELOAD_PRELOAD_DISABLE;
	sConfig.EncoderMode = TIM_ENCODERMODE_TI1;
	sConfig.IC1Polarity = TIM_ICPOLARITY_RISING;
	sConfig.IC1Selection = TIM_ICSELECTION_DIRECTTI;
	sConfig.IC1Prescaler = TIM_ICPSC_DIV1;
	sConfig.IC1Filter = 0;
	sConfig.IC2Polarity = TIM_ICPOLARITY_RISING;
	sConfig.IC2Selection = TIM_ICSELECTION_DIRECTTI;
	sConfig.IC2Prescaler = TIM_ICPSC_DIV1;
	sConfig.IC2Filter = 0;
	if (HAL_TIM_Encoder_Init(&htim5, &sConfig) != HAL_OK) {
		Error_Handler();
	}
	sMasterConfig.MasterOutputTrigger = TIM_TRGO_RESET;
	sMasterConfig.MasterSlaveMode = TIM_MASTERSLAVEMODE_DISABLE;
	if (HAL_TIMEx_MasterConfigSynchronization(&htim5, &sMasterConfig)
			!= HAL_OK) {
		Error_Handler();
	}

}

static void MX_TIM8_Init(void) {

	TIM_Encoder_InitTypeDef sConfig = { 0 };
	TIM_MasterConfigTypeDef sMasterConfig = { 0 };

	htim8.Instance = TIM8;
	htim8.Init.Prescaler = 180 - 1;
	htim8.Init.CounterMode = TIM_COUNTERMODE_UP;
	htim8.Init.Period = 1000 - 1;
	htim8.Init.ClockDivision = TIM_CLOCKDIVISION_DIV1;
	htim8.Init.RepetitionCounter = 0;
	htim8.Init.AutoReloadPreload = TIM_AUTORELOAD_PRELOAD_DISABLE;
	sConfig.EncoderMode = TIM_ENCODERMODE_TI1;
	sConfig.IC1Polarity = TIM_ICPOLARITY_RISING;
	sConfig.IC1Selection = TIM_ICSELECTION_DIRECTTI;
	sConfig.IC1Prescaler = TIM_ICPSC_DIV1;
	sConfig.IC1Filter = 0;
	sConfig.IC2Polarity = TIM_ICPOLARITY_RISING;
	sConfig.IC2Selection = TIM_ICSELECTION_DIRECTTI;
	sConfig.IC2Prescaler = TIM_ICPSC_DIV1;
	sConfig.IC2Filter = 0;
	if (HAL_TIM_Encoder_Init(&htim8, &sConfig) != HAL_OK) {
		Error_Handler();
	}
	sMasterConfig.MasterOutputTrigger = TIM_TRGO_RESET;
	sMasterConfig.MasterSlaveMode = TIM_MASTERSLAVEMODE_DISABLE;
	if (HAL_TIMEx_MasterConfigSynchronization(&htim8, &sMasterConfig)
			!= HAL_OK) {
		Error_Handler();
	}

}

static void MX_TIM10_Init(void) {

	TIM_OC_InitTypeDef sConfigOC = { 0 };

	htim10.Instance = TIM10;
	htim10.Init.Prescaler = 179;
	htim10.Init.CounterMode = TIM_COUNTERMODE_UP;
	htim10.Init.Period = 999;
	htim10.Init.ClockDivision = TIM_CLOCKDIVISION_DIV1;
	htim10.Init.AutoReloadPreload = TIM_AUTORELOAD_PRELOAD_DISABLE;
	if (HAL_TIM_Base_Init(&htim10) != HAL_OK) {
		Error_Handler();
	}
	if (HAL_TIM_PWM_Init(&htim10) != HAL_OK) {
		Error_Handler();
	}
	sConfigOC.OCMode = TIM_OCMODE_PWM1;
	sConfigOC.Pulse = 0;
	sConfigOC.OCPolarity = TIM_OCPOLARITY_HIGH;
	sConfigOC.OCFastMode = TIM_OCFAST_DISABLE;
	if (HAL_TIM_PWM_ConfigChannel(&htim10, &sConfigOC, TIM_CHANNEL_1)
			!= HAL_OK) {
		Error_Handler();
	}
	HAL_TIM_MspPostInit(&htim10);

}

static void MX_TIM11_Init(void) {

	TIM_OC_InitTypeDef sConfigOC = { 0 };

	htim11.Instance = TIM11;
	htim11.Init.Prescaler = 179;
	htim11.Init.CounterMode = TIM_COUNTERMODE_UP;
	htim11.Init.Period = 999;
	htim11.Init.ClockDivision = TIM_CLOCKDIVISION_DIV1;
	htim11.Init.AutoReloadPreload = TIM_AUTORELOAD_PRELOAD_DISABLE;
	if (HAL_TIM_Base_Init(&htim11) != HAL_OK) {
		Error_Handler();
	}
	if (HAL_TIM_PWM_Init(&htim11) != HAL_OK) {
		Error_Handler();
	}
	sConfigOC.OCMode = TIM_OCMODE_PWM1;
	sConfigOC.Pulse = 0;
	sConfigOC.OCPolarity = TIM_OCPOLARITY_HIGH;
	sConfigOC.OCFastMode = TIM_OCFAST_DISABLE;
	if (HAL_TIM_PWM_ConfigChannel(&htim11, &sConfigOC, TIM_CHANNEL_1)
			!= HAL_OK) {
		Error_Handler();
	}
	HAL_TIM_MspPostInit(&htim11);

}

static void MX_TIM12_Init(void) {

	TIM_ClockConfigTypeDef sClockSourceConfig = { 0 };
	TIM_OC_InitTypeDef sConfigOC = { 0 };

	htim12.Instance = TIM12;
	htim12.Init.Prescaler = 179;
	htim12.Init.CounterMode = TIM_COUNTERMODE_UP;
	htim12.Init.Period = 999;
	htim12.Init.ClockDivision = TIM_CLOCKDIVISION_DIV1;
	htim12.Init.AutoReloadPreload = TIM_AUTORELOAD_PRELOAD_DISABLE;
	if (HAL_TIM_Base_Init(&htim12) != HAL_OK) {
		Error_Handler();
	}
	sClockSourceConfig.ClockSource = TIM_CLOCKSOURCE_INTERNAL;
	if (HAL_TIM_ConfigClockSource(&htim12, &sClockSourceConfig) != HAL_OK) {
		Error_Handler();
	}
	if (HAL_TIM_PWM_Init(&htim12) != HAL_OK) {
		Error_Handler();
	}
	sConfigOC.OCMode = TIM_OCMODE_PWM1;
	sConfigOC.Pulse = 0;
	sConfigOC.OCPolarity = TIM_OCPOLARITY_HIGH;
	sConfigOC.OCFastMode = TIM_OCFAST_DISABLE;
	if (HAL_TIM_PWM_ConfigChannel(&htim12, &sConfigOC, TIM_CHANNEL_1)
			!= HAL_OK) {
		Error_Handler();
	}
	HAL_TIM_MspPostInit(&htim12);

}

static void MX_TIM13_Init(void) {

	TIM_OC_InitTypeDef sConfigOC = { 0 };

	htim13.Instance = TIM13;
	htim13.Init.Prescaler = 179;
	htim13.Init.CounterMode = TIM_COUNTERMODE_UP;
	htim13.Init.Period = 999;
	htim13.Init.ClockDivision = TIM_CLOCKDIVISION_DIV1;
	htim13.Init.AutoReloadPreload = TIM_AUTORELOAD_PRELOAD_DISABLE;
	if (HAL_TIM_Base_Init(&htim13) != HAL_OK) {
		Error_Handler();
	}
	if (HAL_TIM_PWM_Init(&htim13) != HAL_OK) {
		Error_Handler();
	}
	sConfigOC.OCMode = TIM_OCMODE_PWM1;
	sConfigOC.Pulse = 0;
	sConfigOC.OCPolarity = TIM_OCPOLARITY_HIGH;
	sConfigOC.OCFastMode = TIM_OCFAST_DISABLE;
	if (HAL_TIM_PWM_ConfigChannel(&htim13, &sConfigOC, TIM_CHANNEL_1)
			!= HAL_OK) {
		Error_Handler();
	}
	HAL_TIM_MspPostInit(&htim13);

}

static void MX_UART4_Init(void) {

	huart4.Instance = UART4;
	huart4.Init.BaudRate = 115200;
	huart4.Init.WordLength = UART_WORDLENGTH_8B;
	huart4.Init.StopBits = UART_STOPBITS_1;
	huart4.Init.Parity = UART_PARITY_NONE;
	huart4.Init.Mode = UART_MODE_TX_RX;
	huart4.Init.HwFlowCtl = UART_HWCONTROL_NONE;
	huart4.Init.OverSampling = UART_OVERSAMPLING_16;
	if (HAL_UART_Init(&huart4) != HAL_OK) {
		Error_Handler();
	}

}

static void MX_UART5_Init(void) {

	huart5.Instance = UART5;
	huart5.Init.BaudRate = 115200;
	huart5.Init.WordLength = UART_WORDLENGTH_8B;
	huart5.Init.StopBits = UART_STOPBITS_1;
	huart5.Init.Parity = UART_PARITY_NONE;
	huart5.Init.Mode = UART_MODE_TX_RX;
	huart5.Init.HwFlowCtl = UART_HWCONTROL_NONE;
	huart5.Init.OverSampling = UART_OVERSAMPLING_16;
	if (HAL_UART_Init(&huart5) != HAL_OK) {
		Error_Handler();
	}

}

static void MX_USART2_UART_Init(void) {

	huart2.Instance = USART2;
	huart2.Init.BaudRate = 115200;
	huart2.Init.WordLength = UART_WORDLENGTH_8B;
	huart2.Init.StopBits = UART_STOPBITS_1;
	huart2.Init.Parity = UART_PARITY_NONE;
	huart2.Init.Mode = UART_MODE_TX_RX;
	huart2.Init.HwFlowCtl = UART_HWCONTROL_NONE;
	huart2.Init.OverSampling = UART_OVERSAMPLING_16;
	if (HAL_UART_Init(&huart2) != HAL_OK) {
		Error_Handler();
	}

}

static void MX_DMA_Init(void) {

	/* DMA controller clock enable */
	__HAL_RCC_DMA1_CLK_ENABLE();

	/* DMA interrupt init */
	/* DMA1_Stream2_IRQn interrupt configuration */
	HAL_NVIC_SetPriority(DMA1_Stream2_IRQn, 0, 0);
	HAL_NVIC_EnableIRQ(DMA1_Stream2_IRQn);
	/* DMA1_Stream7_IRQn interrupt configuration */
	HAL_NVIC_SetPriority(DMA1_Stream7_IRQn, 0, 0);
	HAL_NVIC_EnableIRQ(DMA1_Stream7_IRQn);

}

static void MX_GPIO_Init(void) {
	GPIO_InitTypeDef GPIO_InitStruct = { 0 };

	/* GPIO Ports Clock Enable */
	__HAL_RCC_GPIOC_CLK_ENABLE();
	__HAL_RCC_GPIOH_CLK_ENABLE();
	__HAL_RCC_GPIOA_CLK_ENABLE();
	__HAL_RCC_GPIOB_CLK_ENABLE();
	__HAL_RCC_GPIOD_CLK_ENABLE();

	/*Configure GPIO pin Output Level */
	HAL_GPIO_WritePin(GPIOC,
			GPIO_PIN_15 | M1_Pin | M2_Pin | M3_Pin | stepper_direction_1_Pin
					| ENA_1_Pin | stepper_pulse_1_Pin, GPIO_PIN_RESET);

	/*Configure GPIO pin Output Level */
	HAL_GPIO_WritePin(GPIOA, LD2_Pin | P1_Pin | P2_Pin, GPIO_PIN_RESET);

	/*Configure GPIO pin Output Level */
	HAL_GPIO_WritePin(GPIOB,
			GPIO_PIN_2 | GPIO_PIN_10 | P3_Pin | stepper_pulse_2_Pin,
			GPIO_PIN_RESET);

	/*Configure GPIO pin : B1_Pin */
	GPIO_InitStruct.Pin = B1_Pin;
	GPIO_InitStruct.Mode = GPIO_MODE_IT_FALLING;
	GPIO_InitStruct.Pull = GPIO_NOPULL;
	HAL_GPIO_Init(B1_GPIO_Port, &GPIO_InitStruct);

	/*Configure GPIO pins : PC15 M1_Pin M2_Pin M3_Pin
	 stepper_direction_1_Pin ENA_1_Pin stepper_pulse_1_Pin */
	GPIO_InitStruct.Pin = GPIO_PIN_15 | M1_Pin | M2_Pin | M3_Pin
			| stepper_direction_1_Pin | ENA_1_Pin | stepper_pulse_1_Pin;
	GPIO_InitStruct.Mode = GPIO_MODE_OUTPUT_PP;
	GPIO_InitStruct.Pull = GPIO_NOPULL;
	GPIO_InitStruct.Speed = GPIO_SPEED_FREQ_LOW;
	HAL_GPIO_Init(GPIOC, &GPIO_InitStruct);

	/*Configure GPIO pins : LD2_Pin P1_Pin P2_Pin */
	GPIO_InitStruct.Pin = LD2_Pin | P1_Pin | P2_Pin;
	GPIO_InitStruct.Mode = GPIO_MODE_OUTPUT_PP;
	GPIO_InitStruct.Pull = GPIO_NOPULL;
	GPIO_InitStruct.Speed = GPIO_SPEED_FREQ_LOW;
	HAL_GPIO_Init(GPIOA, &GPIO_InitStruct);

	/*Configure GPIO pins : PB2 PB10 P3_Pin stepper_pulse_2_Pin */
	GPIO_InitStruct.Pin = GPIO_PIN_2 | GPIO_PIN_10 | P3_Pin
			| stepper_pulse_2_Pin;
	GPIO_InitStruct.Mode = GPIO_MODE_OUTPUT_PP;
	GPIO_InitStruct.Pull = GPIO_NOPULL;
	GPIO_InitStruct.Speed = GPIO_SPEED_FREQ_LOW;
	HAL_GPIO_Init(GPIOB, &GPIO_InitStruct);

}

void Error_Handler(void) {
	__disable_irq();
	while (1) {
	}
}
